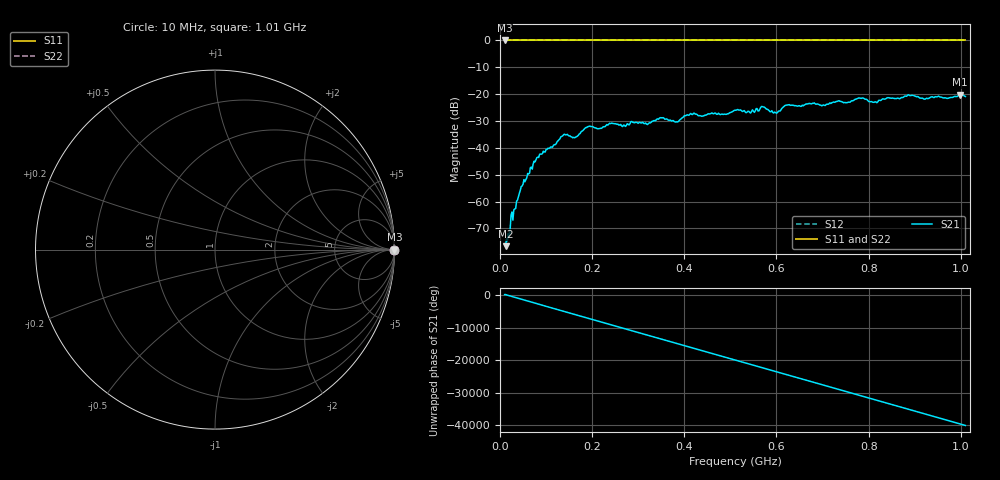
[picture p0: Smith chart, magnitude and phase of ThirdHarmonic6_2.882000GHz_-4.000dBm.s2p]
! 8/17/2025 7:54:28 AM
! C:\ANRITSUVNA\TEMP\TEMP.S2P
! CHANNEL.1
! TR.MEASUREMENT
! RAW.DATA
! RF.CORRECTION.OFF
! AVERAGING.OFF
! IF.BANDWIDTH: 5KHZ
! SWEEPTYPE:  FREQ.SWEEP(Linear)
! Reference Plane Port Info
! PORT:  PORT1  PORT2
! DISTANCE:  0  m  0  m
! TIME:  0  s  0  s
! PHASE.OFFSET:  0  deg.  0  deg.
! LOSS:  0  dB  0  dB
! REF.LOSS:  0  dB  0  dB
! REF.FREQ:  0  Hz  0  Hz
! Power Info
! POWER:  -20  dBm  -20  dBm
! EFF.POWER:  -20  dBm  -20  dBm
! SOURCE.ATTEN:  0  dB  0  dB
! TEST.ATTEN:  0  dB  0  dB
# GHZ S RI R 50.0
! FREQ.GHZ  S11RE  S11IM  S21RE  S21IM  S12RE  S12IM  S22RE  S22IM
!; PortSelection: Port_12
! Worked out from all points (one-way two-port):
!   501 points, 10 MHz to 1.01 GHz, reference 50 ohm
!   highest |S21| = -20.17 dB at 998 MHz (marker M1); lowest = -76.6 dB at 12 MHz (marker M2)
!   lowest |S11| = 0.0 dB at 10 MHz (marker M3)
!   |S11| at or under -10 dB: nowhere
!   |S22| runs from 0.0 to 0.0 dB; largest |S21 - S12| = 1.1
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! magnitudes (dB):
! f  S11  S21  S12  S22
! 10 MHz  0.0  -75.9  0.0  0.0
! 12 MHz  0.0  -76.6  0.0  0.0
! 18 MHz  0.0  -71.8  0.0  0.0
! 28 MHz  0.0  -66.9  0.0  0.0
! 48 MHz  0.0  -54.2  0.0  0.0
! 76 MHz  0.0  -45.2  0.0  0.0
! 136 MHz  0.0  -35.5  0.0  0.0
! 162 MHz  0.0  -36.2  0.0  0.0
! 178 MHz  0.0  -33.8  0.0  0.0
! 194 MHz  0.0  -31.9  0.0  0.0
! 322 MHz  0.0  -31.0  0.0  0.0
! 344 MHz  0.0  -29.3  0.0  0.0
! 384 MHz  0.0  -30.3  0.0  0.0
! 416 MHz  0.0  -27.5  0.0  0.0
! 510 MHz  0.0  -26.0  0.0  0.0
! 570 MHz  0.0  -24.7  0.0  0.0
! 598 MHz  0.0  -26.8  0.0  0.0
! 622 MHz  0.0  -24.1  0.0  0.0
! 678 MHz  0.0  -23.4  0.0  0.0
! 844 MHz  0.0  -21.3  0.0  0.0
! 998 MHz  0.0  -20.2  0.0  0.0
! 1.01 GHz  0.0  -20.9  0.0  0.0
